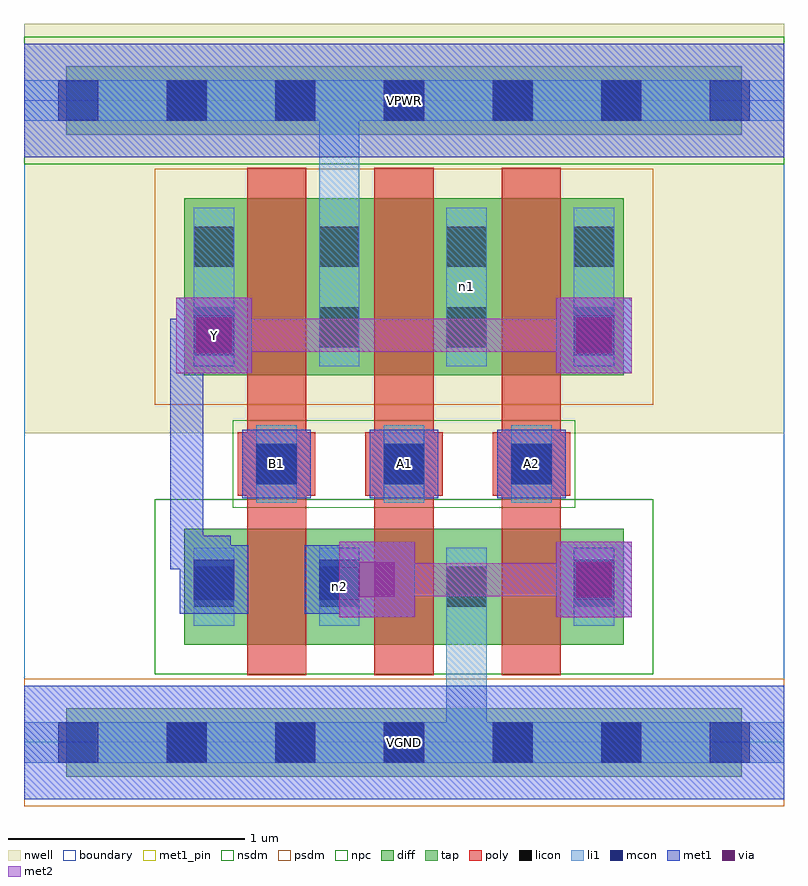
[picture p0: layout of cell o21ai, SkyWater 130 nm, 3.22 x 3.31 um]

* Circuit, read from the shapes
.subckt o21ai A1 A2 B1 VGND VPWR Y n1 n2
XM1 n2 B1 Y VGND sky130_fd_pr__nfet_01v8 w=0.49 l=0.25
XM2 VGND A1 n2 VGND sky130_fd_pr__nfet_01v8 w=0.49 l=0.25
XM3 n2 A2 VGND VGND sky130_fd_pr__nfet_01v8 w=0.49 l=0.25
XM4 VPWR B1 Y VPWR sky130_fd_pr__pfet_01v8 w=0.75 l=0.25
XM5 n1 A1 VPWR VPWR sky130_fd_pr__pfet_01v8 w=0.75 l=0.25
XM6 Y A2 n1 VPWR sky130_fd_pr__pfet_01v8 w=0.75 l=0.25
.ends

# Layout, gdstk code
import gdstk
lib = gdstk.Library(unit=1e-6, precision=1e-09)
def R(c, l, rs):  # rectangles x0, y0, x1, y1
    for r in rs: c.add(gdstk.rectangle(r[:2], r[2:], *l))
def A(c, l, x, y, w, h, nx, ny, dx, dy):  # array of equal rectangles
    R(c, l, [(x+i*dx, y+j*dy, x+i*dx+w, y+j*dy+h) for i in range(nx) for j in range(ny)])
nwell = (64, 20)
diff = (65, 20)
tap = (65, 44)
poly = (66, 20)
licon = (66, 44)
li1 = (67, 20)
mcon = (67, 44)
met1_pin = (68, 16)
met1 = (68, 20)
via = (68, 44)
met2 = (69, 20)
nsdm = (93, 44)
psdm = (94, 20)
npc = (95, 20)
boundary = (235, 4)

o21ai = lib.new_cell('o21ai')
R(o21ai, nwell, [(0,1.31,3.22,3.045)])
R(o21ai, diff, [(0.68,0.415,2.54,0.905), (0.68,1.555,2.54,2.305)])
R(o21ai, tap, [(0.18,-0.145,3.04,0.145), (0.18,2.575,3.04,2.865)])
A(o21ai, poly, 0.945, 0.285, 0.25, 2.15, 3, 1, 0.54, 0)
A(o21ai, poly, 0.905, 1.045, 0.33, 0.27, 3, 1, 0.54, 0)
A(o21ai, licon, 0.605, -0.085, 0.17, 0.17, 5, 2, 0.46, 2.72)
A(o21ai, licon, 1.25, 0.575, 0.17, 0.17, 3, 2, 0.54, 1.1)
A(o21ai, licon, 0.985, 1.095, 0.17, 0.17, 3, 1, 0.54, 0)
A(o21ai, licon, 1.25, 2.015, 0.17, 0.17, 3, 1, 0.54, 0)
R(o21ai, licon, [(0.72,0.575,0.89,0.745), (0.72,1.675,0.89,1.845), (0.72,2.015,0.89,2.185)])
A(o21ai, li1, 1.25, 0.495, 0.17, 0.33, 3, 1, 0.54, 0)
A(o21ai, li1, 0.985, 1.015, 0.17, 0.33, 3, 1, 0.54, 0)
A(o21ai, li1, 1.25, 1.595, 0.17, 0.67, 3, 1, 0.54, 0)
R(o21ai, li1, [(0,-0.085,3.22,0.085), (1.79,-0.085,1.96,0.825), (0.72,0.495,0.89,0.825), (0.72,1.595,0.89,2.265), (1.25,1.595,1.42,2.805), (0,2.635,3.22,2.805)])
A(o21ai, mcon, 0.145, -0.085, 0.17, 0.17, 7, 2, 0.46, 2.72)
A(o21ai, mcon, 0.985, 1.095, 0.17, 0.17, 3, 1, 0.54, 0)
R(o21ai, mcon, [(0.72,0.605,0.89,0.775), (1.25,0.605,1.42,0.775), (2.33,0.605,2.5,0.775), (0.72,1.64,0.89,1.81), (2.33,1.64,2.5,1.81)])
A(o21ai, met1_pin, 0.925, 1.035, 0.29, 0.29, 3, 1, 0.54, 0)
R(o21ai, met1_pin, [(0,-0.24,3.22,0.24), (0.645,1.565,0.965,1.885), (0,2.48,3.22,2.96)])
A(o21ai, met1, 0.925, 1.035, 0.29, 0.29, 3, 1, 0.54, 0)
R(o21ai, met1, [(0,-0.24,3.22,0.24), (1.335,0.53,1.655,0.85), (2.255,0.53,2.575,0.85), (0.66,0.545,0.95,0.835), (1.19,0.545,1.48,0.835), (2.27,0.545,2.56,0.835), (0.735,0.62,0.875,0.875), (1.265,0.62,1.565,0.76), (0.62,0.735,0.875,0.875), (0.62,0.735,0.76,1.795), (0.645,1.565,0.965,1.885), (2.255,1.565,2.575,1.885), (0.66,1.58,0.95,1.87), (2.27,1.58,2.56,1.87), (0.62,1.655,0.875,1.795), (0,2.48,3.22,2.96)])
R(o21ai, via, [(1.42,0.615,1.57,0.765), (2.34,0.615,2.49,0.765), (0.73,1.65,0.88,1.8), (2.34,1.65,2.49,1.8)])
R(o21ai, met2, [(1.335,0.53,1.655,0.85), (2.255,0.53,2.575,0.85), (1.425,0.62,2.485,0.76), (0.645,1.565,0.965,1.885), (2.255,1.565,2.575,1.885), (0.735,1.655,2.485,1.795)])
R(o21ai, nsdm, [(0.555,0.29,2.665,1.03), (0,2.45,3.22,2.99)])
R(o21ai, psdm, [(0,-0.27,3.22,0.27), (0.555,1.43,2.665,2.43)])
R(o21ai, npc, [(0.885,0.995,2.335,1.365)])
R(o21ai, boundary, [(0,0,3.22,2.72)])
o21ai.add(gdstk.Label('n1', (1.875,1.93), layer=67, texttype=5))
o21ai.add(gdstk.Label('n2', (1.335,0.66), layer=67, texttype=5))
o21ai.add(gdstk.Label('A1', (1.61,1.18), layer=68, texttype=5))
o21ai.add(gdstk.Label('A2', (2.15,1.18), layer=68, texttype=5))
o21ai.add(gdstk.Label('B1', (1.07,1.18), layer=68, texttype=5))
o21ai.add(gdstk.Label('Y', (0.805,1.725), layer=68, texttype=5))
o21ai.add(gdstk.Label('VPWR', (1.61,2.72), layer=68, texttype=5))
o21ai.add(gdstk.Label('VGND', (1.61,0), layer=68, texttype=5))
o21ai.add(gdstk.Label('A1', (1.61,1.18), layer=68, texttype=16))
o21ai.add(gdstk.Label('A2', (2.15,1.18), layer=68, texttype=16))
o21ai.add(gdstk.Label('B1', (1.07,1.18), layer=68, texttype=16))
o21ai.add(gdstk.Label('Y', (0.805,1.725), layer=68, texttype=16))
o21ai.add(gdstk.Label('VPWR', (1.61,2.72), layer=68, texttype=16))
o21ai.add(gdstk.Label('VGND', (1.61,0), layer=68, texttype=16))

lib.write_gds('o21ai.gds')
